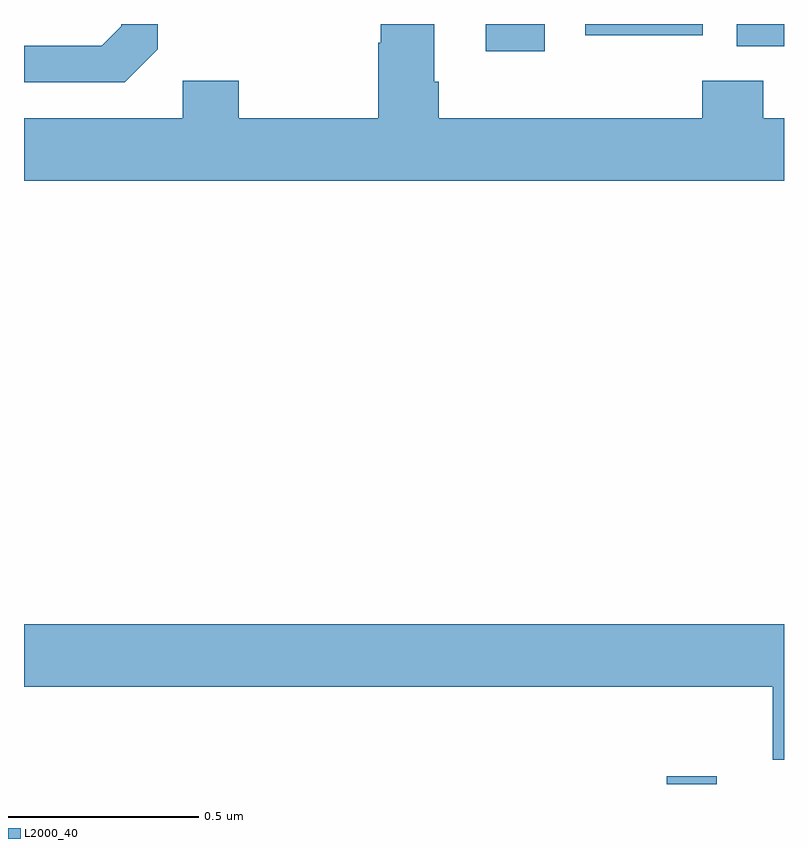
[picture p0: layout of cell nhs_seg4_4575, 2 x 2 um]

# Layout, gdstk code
import gdstk
lib = gdstk.Library(unit=1e-6, precision=1e-09)
def R(c, l, rs):  # rectangles x0, y0, x1, y1
    for r in rs: c.add(gdstk.rectangle(r[:2], r[2:], *l))
def P(c, l, *ps):  # polygons
    for p in ps: c.add(gdstk.Polygon(p, *l))
L2000_40 = (2000, 40)

nhs_seg4_4575 = lib.new_cell('nhs_seg4_4575')
R(nhs_seg4_4575, L2000_40, [(168.692,793.9,168.823,793.921), (168.215,795.828,168.37,795.9), (168.875,795.842,169,795.9), (168.477,795.871,168.786,795.9)])
P(nhs_seg4_4575, L2000_40, [(169,795.652),(168.945,795.652),(168.945,795.751),(168.785,795.751),(168.785,795.652),(168.092,795.652),(168.092,795.748),(168.079,795.748),(168.079,795.9),(167.939,795.9),(167.939,795.851),(167.932,795.851),(167.932,795.652),(167.565,795.652),(167.565,795.751),(167.418,795.751),(167.418,795.652),(167,795.652),(167,795.488),(169,795.488)],
  [(167.352,795.834),(167.352,795.9),(167.256,795.9),(167.256,795.894),(167.205,795.843),(167,795.843),(167,795.747),(167.265,795.747)],
  [(169,794.32),(167,794.32),(167,794.156),(168.971,794.156),(168.971,793.964),(169,793.964)])

lib.write_gds('nhs_seg4_4575.gds')
